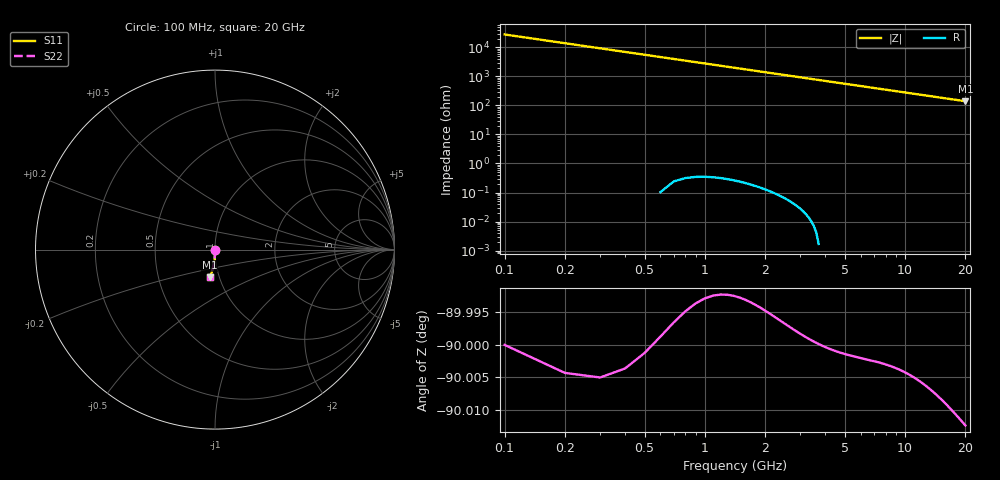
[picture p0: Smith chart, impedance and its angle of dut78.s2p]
! Touchstone file exported from HFSS 2026.1.0
!  File:  C:/ffzhzh/LocalFiles/Ansys_Project_Files/temp_train_TSV_78_1782959421_15332.aedt
!  Generated:  10:31:28 AM Jul  2, 2026
!  Design:  TSV
!  Project:  temp_train_TSV_78_1782959421_15332
! Variables:
!  h_bsmrdl = 2um
!  h_ox = 20um
!  h_rdl = 5um
!  h_sub = 70.74um
!  h_tmrdl = 5um
!  h_tsv = 70.74um
!  h_via = 3um
!  l_bsmrdl = 300um
!  l_sub = 423.86um
!  l_tmrdl = 200um
!  m_sub = 200um
!  pitch = 25.84um
!  r_tsv = 11.93um
!  s_tmrdl = 10um
!  w_bsmrdl = 18um
!  w_sub = 500um
!  w_tmrdl = 12um
!  x_tsv_center1 = 206um
!  x_tsv_center2 = 524um
!  x_tsv_center3 = 736um
!  x_tsv_center4 = 1054um
!  x_tsv_center5 = 1266um
!  x_tsv_center6 = 1584um
# GHz S MA R 50.000000
! Terminal data exported
! Port[1] = TSV1_1_T1
! Port[2] = TSV1_1_T2
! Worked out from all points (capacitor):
!   200 points, 100 MHz to 20 GHz, reference 50 ohm
!   read as one part in shunt: C = 57 fF near 200 MHz
!   lowest |Z| = 140 ohm at 20 GHz (marker M1)
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0.1  0.0007424 -81.4  0.9999 -0.1  0.9999 -0.1  0.0007424 -81.4
! Gamma 0 0 0 0
! Port Impedance 50 0 50 0
0.2  0.001481 -84.8  0.9999 -0.1  0.9999 -0.1  0.001481 -84.8
0.3  0.002235 -85.8  0.9998 -0.2  0.9998 -0.2  0.002235 -85.8
0.4  0.003001 -86.3  0.9998 -0.2  0.9998 -0.2  0.003001 -86.3
0.5  0.003778 -86.6  0.9997 -0.3  0.9997 -0.3  0.003778 -86.6
0.7  0.005353 -87.1  0.9997 -0.4  0.9997 -0.4  0.005353 -87.1
0.8  0.006146 -87.3  0.9996 -0.5  0.9996 -0.5  0.006146 -87.3
1  0.007739 -87.7  0.9996 -0.6  0.9996 -0.6  0.007739 -87.7
1.2  0.009333 -88.1  0.9995 -0.7  0.9995 -0.7  0.009333 -88.1
1.4  0.01093 -88.5  0.9995 -0.8  0.9995 -0.8  0.01093 -88.5
1.7  0.01332 -88.9  0.9994 -1.0  0.9994 -1.0  0.01332 -88.9
2  0.01571 -89.3  0.9994 -1.2  0.9994 -1.2  0.01571 -89.3
2.7  0.02129 -90.0  0.9992 -1.6  0.9992 -1.6  0.02129 -90.0
3.5  0.02766 -90.6  0.9989 -2.0  0.9989 -2.0  0.02766 -90.6
4.2  0.03325 -91.1  0.9987 -2.4  0.9987 -2.4  0.03325 -91.1
5  0.03964 -91.7  0.9984 -2.9  0.9984 -2.9  0.03964 -91.7
6.8  0.05403 -92.8  0.9975 -3.9  0.9975 -3.9  0.05403 -92.8
8.3  0.06601 -93.8  0.9967 -4.7  0.9967 -4.7  0.06601 -93.8
10.1  0.08036 -94.9  0.9955 -5.7  0.9955 -5.7  0.08036 -94.9
13.4  0.1065 -96.8  0.9929 -7.6  0.9929 -7.6  0.1065 -96.8
16.7  0.1324 -98.7  0.9896 -9.4  0.9896 -9.4  0.1324 -98.7
20  0.158 -100.6  0.9856 -11.2  0.9856 -11.2  0.158 -100.6
